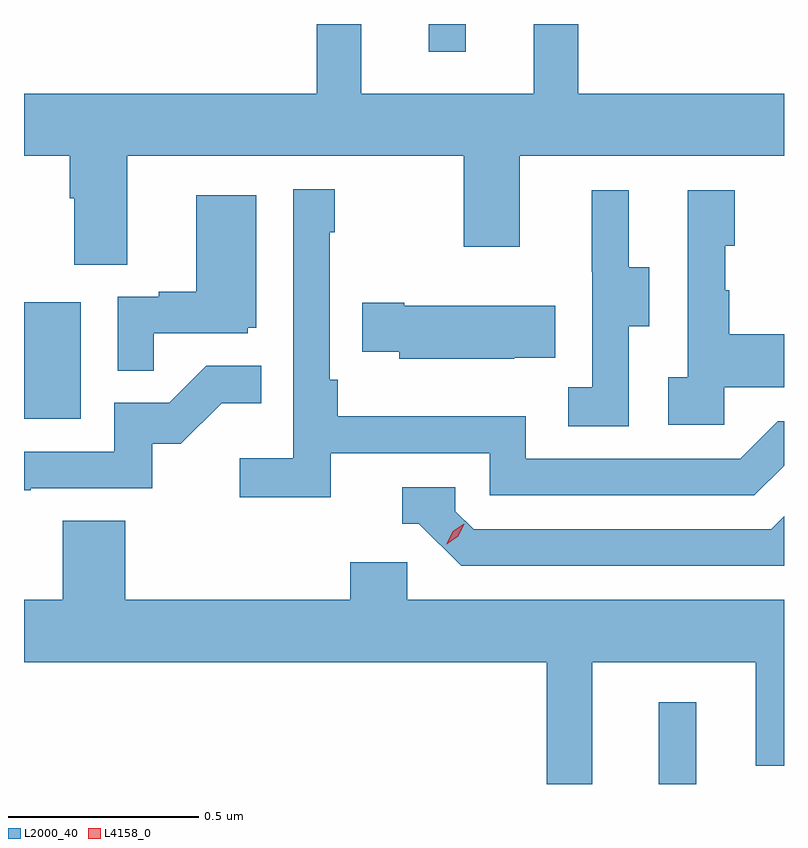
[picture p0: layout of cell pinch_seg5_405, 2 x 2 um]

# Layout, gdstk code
import gdstk
lib = gdstk.Library(unit=1e-6, precision=1e-09)
def R(c, l, rs):  # rectangles x0, y0, x1, y1
    for r in rs: c.add(gdstk.rectangle(r[:2], r[2:], *l))
def P(c, l, *ps):  # polygons
    for p in ps: c.add(gdstk.Polygon(p, *l))
L2000_40 = (2000, 40)
L4158_0 = (4158, 0)

pinch_seg5_405 = lib.new_cell('pinch_seg5_405')
R(pinch_seg5_405, L2000_40, [(965.54,871.091,965.638,871.306), (963.869,872.052,964.018,872.359), (964.934,873.018,965.031,873.091)])
P(pinch_seg5_405, L2000_40, [(964.141,872.744),(965.026,872.744),(965.026,872.505),(965.173,872.505),(965.173,872.744),(965.869,872.744),(965.869,872.908),(965.327,872.908),(965.327,873.091),(965.21,873.091),(965.21,872.908),(964.757,872.908),(964.757,873.091),(964.639,873.091),(964.639,872.908),(963.869,872.908),(963.869,872.744),(963.989,872.744),(963.989,872.632),(964.001,872.632),(964.001,872.458),(964.141,872.458)],
  [(964.676,871.962),(965.094,871.962),(965.094,871.851),(965.791,871.851),(965.869,871.929),(965.869,872.046),(965.853,872.046),(965.754,871.947),(965.19,871.947),(965.19,872.059),(964.694,872.059),(964.694,872.155),(964.674,872.155),(964.674,872.543),(964.687,872.543),(964.687,872.656),(964.578,872.656),(964.578,871.948),(964.437,871.948),(964.437,871.846),(964.676,871.846)],
  [(965.712,872.135),(965.869,872.135),(965.869,872.275),(965.725,872.275),(965.725,872.39),(965.715,872.39),(965.715,872.508),(965.74,872.508),(965.74,872.653),(965.616,872.653),(965.616,872.162),(965.565,872.162),(965.565,872.037),(965.712,872.037)],
  [(965.46,872.296),(965.515,872.296),(965.515,872.451),(965.461,872.451),(965.461,872.653),(965.363,872.653),(965.363,872.439),(965.364,872.439),(965.364,872.135),(965.301,872.135),(965.301,872.032),(965.46,872.032)],
  [(964.211,872.277),(964.458,872.277),(964.458,872.292),(964.48,872.292),(964.48,872.641),(964.322,872.641),(964.322,872.386),(964.223,872.386),(964.223,872.373),(964.116,872.373),(964.116,872.179),(964.211,872.179)],
  [(965.159,872.213),(965.267,872.213),(965.267,872.35),(964.87,872.35),(964.87,872.358),(964.759,872.358),(964.759,872.228),(964.857,872.228),(964.857,872.21),(965.159,872.21)],
  [(963.887,871.869),(964.206,871.869),(964.206,871.986),(964.282,871.986),(964.389,872.093),(964.493,872.093),(964.493,872.192),(964.349,872.192),(964.251,872.094),(964.107,872.094),(964.107,871.965),(963.869,871.965),(963.869,871.864),(963.887,871.864)],
  [(965.869,871.795),(965.835,871.761),(965.052,871.761),(965.004,871.809),(965.004,871.872),(964.865,871.872),(964.865,871.776),(964.908,871.776),(965.019,871.665),(965.869,871.665)],
  [(965.365,871.412),(965.795,871.412),(965.795,871.139),(965.869,871.139),(965.869,871.576),(964.878,871.576),(964.878,871.674),(964.727,871.674),(964.727,871.576),(964.136,871.576),(964.136,871.784),(963.971,871.784),(963.971,871.576),(963.869,871.576),(963.869,871.412),(965.244,871.412),(965.244,871.091),(965.365,871.091)])
P(pinch_seg5_405, L4158_0, [(964.981,871.722),(964.981,871.723),(964.997,871.756),(965.027,871.776),(965.027,871.776),(965.027,871.776),(965.012,871.743),(964.981,871.722)])

lib.write_gds('pinch_seg5_405.gds')
